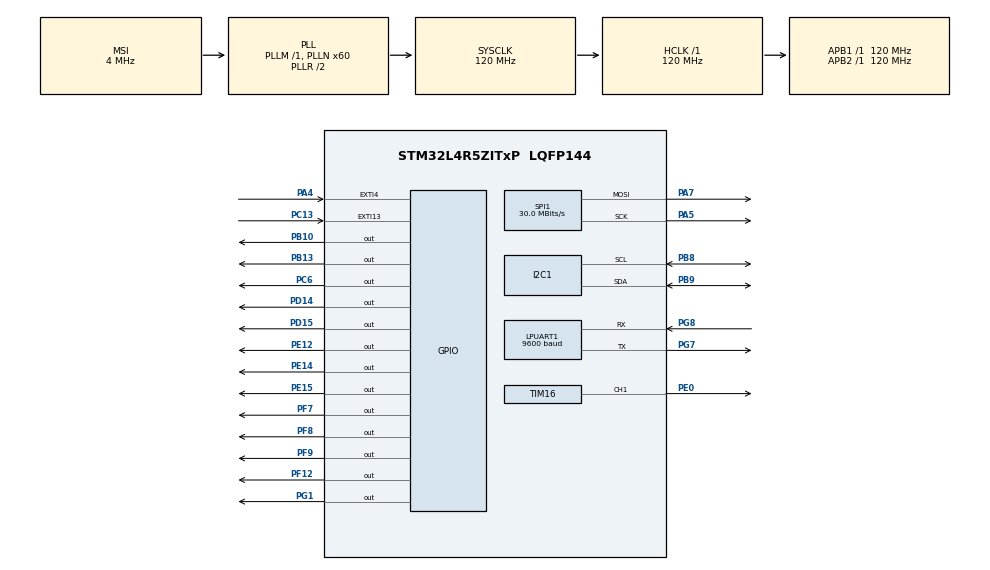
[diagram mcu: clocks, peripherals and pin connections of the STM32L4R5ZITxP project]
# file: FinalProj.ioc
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I2C1.Timing=0x307075B1
LPUART1.BaudRate=9600
LPUART1.WordLength=UART_WORDLENGTH_8B
Mcu.Family=STM32L4
Mcu.Name=STM32L4R5ZITxP
Mcu.Package=LQFP144
NVIC.EXTI15_10_IRQn=true\:0\:0\:false\:false\:true\:true\:true\:true
NVIC.EXTI4_IRQn=true\:0\:0\:false\:false\:true\:true\:true\:true
NVIC.PriorityGroup=NVIC_PRIORITYGROUP_4
PA10.Signal=USB_OTG_FS_ID
PA13\ (JTMS/SWDIO).Signal=SYS_JTMS-SWDIO
PA14\ (JTCK/SWCLK).Signal=SYS_JTCK-SWCLK
PA4.GPIO_ModeDefaultEXTI=GPIO_MODE_IT_FALLING
PA4.Signal=GPXTI4
PA5.Mode=TX_Only_Simplex_Unidirect_Master
PA5.Signal=SPI1_SCK
PA6.Signal=SPI1_MISO
PA7.Mode=TX_Only_Simplex_Unidirect_Master
PA7.Signal=SPI1_MOSI
PA8.Signal=USB_OTG_FS_SOF
PA9.Signal=USB_OTG_FS_VBUS
PB10.Signal=GPIO_Output
PB12.Signal=SAI2_FS_A
PB13.Signal=GPIO_Output
PB4\ (NJTRST).Signal=SPI3_MISO
PB5.Signal=SPI3_MOSI
PB6.Signal=COMP2_INP
PB8.Mode=I2C
PB8.Signal=I2C1_SCL
PB9.Mode=I2C
PB9.Signal=I2C1_SDA
PC0.Signal=ADCx_IN1
PC1.Signal=ADCx_IN2
PC10.Signal=SDMMC1_D2
PC11.Signal=SDMMC1_D3
PC12.Signal=SDMMC1_CK
PC13.Signal=GPXTI13
PC14-OSC32_IN\ (PC14).Signal=RCC_OSC32_IN
PC15-OSC32_OUT\ (PC15).Signal=RCC_OSC32_OUT
PC2.Signal=ADCx_IN3
PC3.Signal=ADCx_IN4
PC4.Signal=ADCx_IN13
PC5.Signal=ADCx_IN14
PC6.GPIO_ModeDefaultOutputPP=GPIO_MODE_OUTPUT_OD
PC6.GPIO_PuPd=GPIO_PULLUP
PC6.GPIO_Speed=GPIO_SPEED_FREQ_MEDIUM
PC6.Signal=GPIO_Output
PC8.Signal=SDMMC1_D0
PC9.Signal=SDMMC1_D1
PD0.Signal=CAN1_RX
PD14.Signal=GPIO_Output
PD15.Signal=GPIO_Output
PD2.Signal=SDMMC1_CMD
PD3.Signal=USART2_CTS
PD4.Signal=USART2_RTS
PD5.Signal=USART2_TX
PD6.Signal=USART2_RX
PD8.Signal=USART3_TX
PD9.Signal=USART3_RX
PE0.Signal=S_TIM16_CH1
PE10.Signal=TIM1_CH2N
PE12.Signal=GPIO_Output
PE13.Signal=S_TIM1_CH3
PE14.Signal=GPIO_Output
PE15.Signal=GPIO_Output
PE2.Signal=SAI1_MCLK_A
PE3.Signal=SAI1_SD_B
PE7.Signal=S_TIM1_ETR
PE8.Signal=TIM1_CH1N
PE9.Signal=S_TIM1_CH1
PF0.Signal=I2C2_SDA
PF1.Signal=I2C2_SCL
PF12.Signal=GPIO_Output
PF2.Signal=I2C2_SMBA
PF7.Signal=GPIO_Output
PF8.Signal=GPIO_Output
PF9.Signal=GPIO_Output
PG1.Signal=GPIO_Output
PG7.Mode=Asynchronous
PG7.Signal=LPUART1_TX
PG8.Mode=Asynchronous
PG8.Signal=LPUART1_RX
PH0-OSC_IN\ (PH0).Signal=RCC_OSC_IN
PH1-OSC_OUT\ (PH1).Signal=RCC_OSC_OUT
ProjectManager.HeapSize=0x200
ProjectManager.StackSize=0x400
ProjectManager.TargetToolchain=STM32CubeIDE
RCC.AHBFreq_Value=120000000
RCC.APB1Freq_Value=120000000
RCC.APB1TimFreq_Value=120000000
RCC.APB2Freq_Value=120000000
RCC.APB2TimFreq_Value=120000000
RCC.CortexFreq_Value=120000000
RCC.HCLKFreq_Value=120000000
RCC.HSE_VALUE=8000000
RCC.HSI48_VALUE=48000000
RCC.HSI_VALUE=16000000
RCC.LPUART1CLockSelection=RCC_LPUART1CLKSOURCE_HSI
RCC.LSE_VALUE=32768
RCC.MSI_VALUE=4000000
RCC.PLLN=60
RCC.SYSCLKFreq_VALUE=120000000
RCC.SYSCLKSource=RCC_SYSCLKSOURCE_PLLCLK
RCC.VCOOutputFreq_Value=240000000
SH.ADCx_IN1.0=ADC1_IN1
SH.ADCx_IN13.0=ADC1_IN13
SH.ADCx_IN14.0=ADC1_IN14
SH.ADCx_IN2.0=ADC1_IN2
SH.ADCx_IN3.0=ADC1_IN3
SH.ADCx_IN4.0=ADC1_IN4
SH.S_TIM16_CH1.0=TIM16_CH1,PWM Generation1 CH1
SH.S_TIM1_CH1.0=TIM1_CH1
SH.S_TIM1_CH3.0=TIM1_CH3
SH.S_TIM1_ETR.0=TIM1_ETR
SPI1.BaudRatePrescaler=SPI_BAUDRATEPRESCALER_4
SPI1.CalculateBaudRate=30.0 MBits/s
SPI1.DataSize=SPI_DATASIZE_8BIT
SPI1.Direction=SPI_DIRECTION_2LINES
SPI1.Mode=SPI_MODE_MASTER
SPI1.VirtualType=VM_MASTER
TIM16.AutoReloadPreload=TIM_AUTORELOAD_PRELOAD_ENABLE
TIM16.Channel=TIM_CHANNEL_1
TIM16.Period=1999
TIM16.Prescaler=1199
TIM2.ClockDivision=TIM_CLOCKDIVISION_DIV2
TIM2.Period=0xffff-1
TIM2.Prescaler=59999
TIM4.Period=0xffff-1
TIM4.Prescaler=11
TIM5.Prescaler=119
VP_TIM16_VS_ClockSourceINT.Mode=Enable_Timer
VP_TIM2_VS_ClockSourceINT.Mode=Internal
VP_TIM4_VS_ClockSourceINT.Mode=Internal
VP_TIM5_VS_ClockSourceINT.Mode=Internal
board=NUCLEO-L4R5ZI-P

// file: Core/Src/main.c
/* USER CODE BEGIN Header */
/**
  ******************************************************************************
  * @file           : main.c
  * @brief          : Main program body
  ******************************************************************************
  * @attention
  *
  * Copyright (c) 2022 STMicroelectronics.
  * All rights reserved.
  *
  * This software is licensed under terms that can be found in the LICENSE file
  * in the root directory of this software component.
  * If no LICENSE file comes with this software, it is provided AS-IS.
  *
  ******************************************************************************
  */
/* USER CODE END Header */
#include "main.h"

/* USER CODE BEGIN Includes */
#include "hx8357d.h"
#include "n64.h"
#include "plotter.h"
#include "stdio.h"
#include "PixyI2C.h"
/* USER CODE END Includes */

 I2C_HandleTypeDef hi2c1;

UART_HandleTypeDef hlpuart1;

SPI_HandleTypeDef hspi1;

TIM_HandleTypeDef htim2;
TIM_HandleTypeDef htim4;
TIM_HandleTypeDef htim5;
TIM_HandleTypeDef htim16;

/* USER CODE BEGIN PV */
//---------------------------Driver----------------------------------
enum InputMode {IR, N64};
enum InputMode mode = N64; // TODO: write N64 Button Interrupt to swap modes
uint16_t drawColor;
//---------------------------Screen----------------------------------
//Chip Select pin
GPIO_TypeDef  *tftCS_GPIO = GPIOD;
uint16_t tftCS_PIN = GPIO_PIN_14;
//Data Command pin
GPIO_TypeDef  *tftDC_GPIO = GPIOD;
uint16_t tftDC_PIN = GPIO_PIN_15;
//Reset pin
GPIO_TypeDef  *tftRESET_GPIO = GPIOF;
uint16_t tftRESET_PIN = GPIO_PIN_12;
static int displayXStep = HX8357_TFTWIDTH/2; // 0,0 is starting corner
static int displayYStep = HX8357_TFTHEIGHT/2;
static int displayXGoalStep = 100;
static int displayYGoalStep = 100;

//----------------------------N64-------------------------------------
GPIO_TypeDef  *n64_GPIO = GPIOC;
uint16_t n64_PIN = GPIO_PIN_6;
//Debug pin
GPIO_TypeDef  *n64_DEBUG_GPIO = GPIOB;
uint16_t n64_DEBUG_PIN = GPIO_PIN_13;
//Interrupt pin (connected to data)
GPIO_TypeDef  *n64_INT_GPIO = GPIOB;
uint16_t n64_INT_PIN = GPIO_PIN_15;

//--------------------------XY Plotter--------------------------------
// Pin definitions
static GPIO_TypeDef *A0_GPIO = GPIOB;
static uint16_t A0_PIN = GPIO_PIN_10;
static GPIO_TypeDef *A1_GPIO = GPIOE;
static uint16_t A1_PIN = GPIO_PIN_15;
static GPIO_TypeDef *A2_GPIO = GPIOE;
static uint16_t A2_PIN = GPIO_PIN_14;
static GPIO_TypeDef *A3_GPIO = GPIOE;
static uint16_t A3_PIN = GPIO_PIN_12;

static GPIO_TypeDef *B0_GPIO = GPIOG;
static uint16_t B0_PIN = GPIO_PIN_1;
static GPIO_TypeDef *B1_GPIO = GPIOF;
static uint16_t B1_PIN = GPIO_PIN_9;
static GPIO_TypeDef *B2_GPIO = GPIOF;
static uint16_t B2_PIN = GPIO_PIN_7;
static GPIO_TypeDef *B3_GPIO = GPIOF;
static uint16_t B3_PIN = GPIO_PIN_8;

static int plotXStep = 0; // 0,0 is starting corner
static int plotYStep = 0;

static int plotXGoalStep = 0;
static int plotYGoalStep = 0;

static const uint8_t STEP_PER_CM = 50;
static const uint8_t TRAVEL_X_CM = 40;
static const uint8_t TRAVEL_Y_CM = 40;

//---------------------------Servo---------------------------------
#define TIM16_ADDR 0x40014400 //timer 4 base register
#define TIM_CCR1_OFFSET 0x34 //capture/compare register 2
#define SERVO_DOWN 150
#define SERVO_UP 125
static char servoState = 0;
static char ZPrevState = 0; //button push state for N64 Z
static uint32_t * tim16_ccr1 = (uint32_t *)(TIM16_ADDR + TIM_CCR1_OFFSET);

/* USER CODE END PV */

void SystemClock_Config(void);
static void MX_GPIO_Init(void);
static void MX_SPI1_Init(void);
static void MX_TIM4_Init(void);
static void MX_LPUART1_UART_Init(void);
static void MX_TIM2_Init(void);
static void MX_I2C1_Init(void);
static void MX_TIM5_Init(void);
static void MX_TIM16_Init(void);

/* USER CODE BEGIN 0 */
void movePlot(int dXStep, int dYStep){
	plotXStep += dXStep;
	plotYStep += dYStep;
	if(dXStep == 0){
		stepDiag(0, dYStep);
	}else if(dYStep == 0){
		stepDiag(dXStep, 0);
	}else{
		stepDiag(dXStep, dYStep);
	}
	//printf("movePlot: now at (%d, %d)\n\r", plotXStep, plotYStep);
}

void moveTo(int xPos, int yPos)
{
  int dXStep = xPos - plotXStep;
  int dYStep = yPos - plotYStep;
  movePlot(dXStep, dYStep);
}

//this goes from -128 to +127 on each axis (N64 input)
void scaleN64Plot(signed char xval, signed char yval, int threshold){
	// plotXGoalStep = (xval + 128) * (STEP_PER_CM * TRAVEL_X_CM) / 255;
	// plotYGoalStep = (yval + 128) * (STEP_PER_CM * TRAVEL_Y_CM) / 255;
	// //printf("N64Plot: going to (%d, %d)\n\r", plotXGoalStep, plotYGoalStep);
	int stepDistance = 50;
    plotXGoalStep = 0;
    plotYGoalStep = 0;
    if(xval > threshold && plotXStep < (STEP_PER_CM * TRAVEL_X_CM) - stepDistance)
      plotXGoalStep =  stepDistance;
    if(xval < -1 * threshold && plotXStep > stepDistance)
      plotXGoalStep =  -1 * stepDistance;
    if(yval > threshold && plotYStep < (STEP_PER_CM * TRAVEL_Y_CM) - stepDistance)
      plotYGoalStep =  stepDistance;
    if(yval < -1 * threshold && plotYStep > stepDistance)
      plotYGoalStep =  -1 * stepDistance;
    //printf("N64Plot: going to (%d, %d)\n\r", plotXStep+ plotXGoalStep, plotYStep + plotYGoalStep);
    movePlot(plotXGoalStep, plotYGoalStep);
}
void scaleN64Display(signed char xval, signed char yval, int threshold)
{
  // Which direction is the stick in?
    displayXGoalStep = displayXStep;
    displayYGoalStep = displayYStep;
    int stepDistance = 6;
//    if(xval > threshold && displayXStep > 20)
//      displayXGoalStep =  displayXStep - 4;
//    if(xval < -1 * threshold && displayXStep < HX8357_TFTWIDTH - 20)
//      displayXGoalStep =  displayXStep + 4;
//    if(yval > threshold && displayYStep < HX8357_TFTHEIGHT - 20)
//      displayYGoalStep =  displayYStep + 4;
//    if(yval < -1 * threshold && displayYStep > 20)
//      displayYGoalStep =  displayYStep - 4;

    // Up on stick -> right on display
    if(yval > threshold && displayXStep < HX8357_TFTWIDTH - 20)
    {
        displayXGoalStep =  displayXStep + stepDistance;
    }
       // Down on Stick -> Left on Display
    if(yval < -1 * threshold && displayXStep > 20)
        displayXGoalStep =  displayXStep - stepDistance;
    // Left on stick -> down on display
    if(xval < -1 * threshold && displayYStep > 20)
        displayYGoalStep =  displayYStep - stepDistance;
    // Right on stick -> up on display
    if(xval > threshold &&displayYStep < HX8357_TFTHEIGHT - 20)
        displayYGoalStep =  displayYStep + stepDistance;

//    uint16_t XCenter = displayXGoalStep;
//	  uint16_t YCenter = displayYGoalStep;
    uint16_t XCenter = (plotYStep + plotYGoalStep) * (HX8357_TFTWIDTH) / (STEP_PER_CM * TRAVEL_Y_CM);
	uint16_t YCenter = (plotXStep + plotXGoalStep) * (HX8357_TFTHEIGHT) / (STEP_PER_CM * TRAVEL_X_CM);
	  uint16_t rectRadius = 12;
	  if(XCenter + rectRadius >= HX8357_TFTWIDTH) XCenter -= rectRadius;
	  if(YCenter + rectRadius >= HX8357_TFTHEIGHT) YCenter -= rectRadius;
	  LCD_rect(XCenter, YCenter, XCenter + rectRadius, YCenter + rectRadius, drawColor);
    displayXStep = displayXGoalStep;
    displayYStep = displayYGoalStep;
}
void scaleIRPlot(int *data, int threshold)
{
	//Tracking style

//	int newX = (320 - data[0]) * (STEP_PER_CM * TRAVEL_X_CM) / 320;
//	int newY = (200 - data[1]) * (STEP_PER_CM * TRAVEL_Y_CM) / 200;
//	int newXDiff = newX - plotXStep;
//	int newYDiff = newY - plotYStep;
//	int total = newXDiff + newYDiff;
//	int stepDistance = 100;
//	plotXGoalStep = newXDiff * stepDistance / total;
//	plotYGoalStep = newYDiff * stepDistance / total;
	//printf("IRPlot: going to (%d, %d)\n\r", plotXStep+ plotXGoalStep, plotYStep + plotYGoalStep);
	movePlot(plotXGoalStep, plotYGoalStep);

    // N64 Style
//
//	int xval = -1* (data[0] * 256 / 320) - 128;
//	int yval = -1* ((data[0] * 256 / 200) - 128);
//	scaleN64Plot(xval, yval, threshold);
}
void scaleIRDisplay(int *data, int threshold)
{
//  uint16_t XCenter = data[0] * HX8357_TFTWIDTH / 320;
//	uint16_t YCenter = data[1] * HX8357_TFTHEIGHT / 200;
//	uint16_t rectRadius = 8;
//	LCD_rect(XCenter - rectRadius, YCenter - rectRadius, XCenter + rectRadius, YCenter + rectRadius, drawColor);

	//Tracking style
	plotXGoalStep = 0;
	plotYGoalStep = 0;
	int newX = (320 - data[0]) * (STEP_PER_CM * TRAVEL_X_CM) / 320;
	if(newX < 0) newX = 0;
	int newY = (200 - data[1]) * (STEP_PER_CM * TRAVEL_Y_CM) / 200;
	if(newY < 0) newY = 0;
	int newXDiff = newX - plotXStep;
	int newYDiff = newY - plotYStep;

	// Whiteboard bounds
//	if(newY < 1050 || newY >  (STEP_PER_CM * TRAVEL_Y_CM) - 650) newYDiff = 0;
//	if(newX < 300 || newX >  (STEP_PER_CM * TRAVEL_X_CM) - 1350) newXDiff = 0;

	int total = abs(newXDiff) + abs(newYDiff);
	if(total > 400)
	{
		int stepDistance = 150;
		plotXGoalStep = newXDiff * stepDistance / total;
		plotYGoalStep = newYDiff * stepDistance / total;
	}

    uint16_t XCenter = (plotYStep + plotYGoalStep) * (HX8357_TFTWIDTH) / (STEP_PER_CM * TRAVEL_Y_CM);
	uint16_t YCenter = (plotXStep + plotXGoalStep) * (HX8357_TFTHEIGHT) / (STEP_PER_CM * TRAVEL_X_CM);
	  uint16_t rectRadius = 12;
	  if(XCenter + rectRadius >= HX8357_TFTWIDTH) XCenter -= rectRadius;
	  if(YCenter + rectRadius >= HX8357_TFTHEIGHT) YCenter -= rectRadius;
	  LCD_rect(XCenter, YCenter, XCenter + rectRadius, YCenter + rectRadius, drawColor);
    // N64 Style
//	int xval = -1* (data[0] * 256 / 320) - 128;
//	int yval = -1*((data[0] * 256 / 200) - 128);
//	scaleN64Display(xval, yval, threshold);
}

void drawPlotBounds(){
	//assumes we are at (0,0);
	movePlot((int)(STEP_PER_CM * TRAVEL_X_CM), 0);
	movePlot(0, (int)(STEP_PER_CM * TRAVEL_Y_CM));
	movePlot((int)(-STEP_PER_CM * TRAVEL_X_CM), 0);
	movePlot(0, (int)(-STEP_PER_CM * TRAVEL_Y_CM));
}

void reCalibrate(int vals)
{
	if((vals >> 28) & 0x1)
	{
		plotXStep = 0;
		plotYStep = 0;
	}
}

// Three button functions - Reset, Color Change, Input switch
void resetAll(){
	*tim16_ccr1 = SERVO_UP;
	servoState = 0;
	mode = N64;
	drawColor = 0x0000;
	LCD_fill(HX8357_WHITE);
	displayXStep = HX8357_TFTWIDTH/2;
	displayYStep = HX8357_TFTHEIGHT/2;
	moveTo(100, plotYStep);
	moveTo(100, 100);
}

void colorChange()
{
	switch(drawColor){
	case 0x0000:
		drawColor = 0x001F;
		break;
	case 0x001F:
		drawColor = 0xF800;
		break;
	case 0xF800:
		drawColor = 0x07E0;
		break;
	case 0x07E0:
		drawColor = 0x07FF;
		break;
	case 0x7FF:
		drawColor = 0xF81F;
		break;
	case 0xF81F:
		drawColor = 0xFFE0;
		break;
	case 0xFFE0:
		drawColor = 0x0000;
		break;
	}
//#define	HX8357_BLACK   0x0000 ///< BLACK color for drawing graphics
//#define	HX8357_BLUE    0x001F ///< BLUE color for drawing graphics
//#define	HX8357_RED     0xF800 ///< RED color for drawing graphics
//#define	HX8357_GREEN   0x07E0 ///< GREEN color for drawing graphics
//#define HX8357_CYAN    0x07FF ///< CYAN color for drawing graphics
//#define HX8357_MAGENTA 0xF81F ///< MAGENTA color for drawing graphics
//#define HX8357_YELLOW  0xFFE0 ///< YELLOW color for drawing graphics
//#define HX8357_WHITE   0xFFFF ///< WHITE color for drawing graphics
}
void modeSwap()
{
	mode = !mode;
	HAL_Delay(500);
}
void settingCheck(uint32_t vals)
{
    int aVal = vals >> 31;
    if(aVal) modeSwap();
//    int bVal = (vals >> 30) & 0x1;
//    if(bVal) resetAll();
    int lBumper = (vals >> 21) & 0x1;
    if(lBumper) colorChange();
}

//Servo
void toggleServo(){
	if(servoState){
		*tim16_ccr1 = SERVO_UP;
		servoState = 0;
	}else{
		*tim16_ccr1 = SERVO_DOWN;
		servoState = 1;
	}
}

void handleServo(char ZState){
	if(ZState && !ZPrevState){
		toggleServo();
	}
	ZPrevState = ZState;
}

/* USER CODE END 0 */

int main(void)
{

  /* MCU Configuration--------------------------------------------------------*/

  /* Reset of all peripherals, Initializes the Flash interface and the Systick. */
  HAL_Init();

  /* Configure the system clock */
  SystemClock_Config();

  /* Initialize all configured peripherals */
  MX_GPIO_Init();
  MX_SPI1_Init();
  MX_TIM4_Init();
  MX_LPUART1_UART_Init();
  MX_TIM2_Init();
  MX_I2C1_Init();
  MX_TIM5_Init();
  MX_TIM16_Init();
  /* USER CODE BEGIN 2 */

  ////printf("Initing...\n\r");

  //Servo
  HAL_TIM_PWM_Start(&htim16, TIM_CHANNEL_1);
  *tim16_ccr1 = SERVO_UP;

  //Stepper
  step_init(&htim2, 1, A0_GPIO, A0_PIN, A1_GPIO, A1_PIN, A2_GPIO, A2_PIN, A3_GPIO, A3_PIN, B0_GPIO, B0_PIN, B1_GPIO, B1_PIN, B2_GPIO, B2_PIN, B3_GPIO, B3_PIN);
  setSpeed(300); //yes 300, not above incl. 325

  //N64
  N64_init(&htim4, &htim5, n64_GPIO, n64_PIN, n64_DEBUG_GPIO, n64_DEBUG_PIN, n64_INT_GPIO, n64_INT_PIN);

  //LCD
  LCD_init(&hspi1, tftCS_GPIO, tftCS_PIN, tftDC_GPIO, tftDC_PIN, tftRESET_GPIO, tftRESET_PIN);
  HAL_Delay(200);
  LCD_fill(HX8357_WHITE);
  /* USER CODE END 2 */

  /* Infinite loop */
  /* USER CODE BEGIN WHILE */
  // start here

//  drawPlotBounds();
  movePlot((TRAVEL_X_CM * STEP_PER_CM / 2),(TRAVEL_Y_CM * STEP_PER_CM / 2));
  uint32_t vals = 0;
  //printf("Starting...\n\r");
  while (1)
  {
    if(mode == N64)
    {
      // N64 Read
      vals = intRead(); // intRead();
      //reCalibrate(vals);
      settingCheck(vals);
      signed char xval = (vals >> 8) & 0xff; //both were signed
      signed char yval = vals & 0xff;
      //printf("N64 read X: %d,Y: %d\n\r", xval, yval);
      // Input Tracking
      // To Display
      scaleN64Display(xval, yval, 45);
      // To Plotter Global
      scaleN64Plot(xval, yval, 45);
    }
    else if(mode == IR)
    {
    	// Check for mode switch
        vals = intRead(); // intRead();
        settingCheck(vals);
      // IR Read
      int ir_buf[2];
      getBlocks(&hi2c1, &ir_buf[0]);
      //printf("IR read X: %d,Y: %d\n\r", ir_buf[0], ir_buf[1]);
      // Input Tracking
      // To Display
      scaleIRDisplay(&ir_buf[0], 10);
      // To Plotter Globals
      scaleIRPlot(&ir_buf[0], 10);
    }
    // Plot

	  handleServo((vals >> 29) & 1);
    /* USER CODE END WHILE */

    /* USER CODE BEGIN 3 */
	  HAL_Delay(50);
  }
  /* USER CODE END 3 */
}

void SystemClock_Config(void)
{
  RCC_OscInitTypeDef RCC_OscInitStruct = {0};
  RCC_ClkInitTypeDef RCC_ClkInitStruct = {0};

  /** Configure the main internal regulator output voltage
  */
  if (HAL_PWREx_ControlVoltageScaling(PWR_REGULATOR_VOLTAGE_SCALE1_BOOST) != HAL_OK)
  {
    Error_Handler();
  }

  /** Initializes the RCC Oscillators according to the specified parameters
  * in the RCC_OscInitTypeDef structure.
  */
  RCC_OscInitStruct.OscillatorType = RCC_OSCILLATORTYPE_HSI|RCC_OSCILLATORTYPE_MSI;
  RCC_OscInitStruct.HSIState = RCC_HSI_ON;
  RCC_OscInitStruct.HSICalibrationValue = RCC_HSICALIBRATION_DEFAULT;
  RCC_OscInitStruct.MSIState = RCC_MSI_ON;
  RCC_OscInitStruct.MSICalibrationValue = 0;
  RCC_OscInitStruct.MSIClockRange = RCC_MSIRANGE_6;
  RCC_OscInitStruct.PLL.PLLState = RCC_PLL_ON;
  RCC_OscInitStruct.PLL.PLLSource = RCC_PLLSOURCE_MSI;
  RCC_OscInitStruct.PLL.PLLM = 1;
  RCC_OscInitStruct.PLL.PLLN = 60;
  RCC_OscInitStruct.PLL.PLLP = RCC_PLLP_DIV2;
  RCC_OscInitStruct.PLL.PLLQ = RCC_PLLQ_DIV2;
  RCC_OscInitStruct.PLL.PLLR = RCC_PLLR_DIV2;
  if (HAL_RCC_OscConfig(&RCC_OscInitStruct) != HAL_OK)
  {
    Error_Handler();
  }

  /** Initializes the CPU, AHB and APB buses clocks
  */
  RCC_ClkInitStruct.ClockType = RCC_CLOCKTYPE_HCLK|RCC_CLOCKTYPE_SYSCLK
                              |RCC_CLOCKTYPE_PCLK1|RCC_CLOCKTYPE_PCLK2;
  RCC_ClkInitStruct.SYSCLKSource = RCC_SYSCLKSOURCE_PLLCLK;
  RCC_ClkInitStruct.AHBCLKDivider = RCC_SYSCLK_DIV1;
  RCC_ClkInitStruct.APB1CLKDivider = RCC_HCLK_DIV1;
  RCC_ClkInitStruct.APB2CLKDivider = RCC_HCLK_DIV1;

  if (HAL_RCC_ClockConfig(&RCC_ClkInitStruct, FLASH_LATENCY_5) != HAL_OK)
  {
    Error_Handler();
  }
}

static void MX_I2C1_Init(void)
{

  hi2c1.Instance = I2C1;
  hi2c1.Init.Timing = 0x307075B1;
  hi2c1.Init.OwnAddress1 = 0;
  hi2c1.Init.AddressingMode = I2C_ADDRESSINGMODE_7BIT;
  hi2c1.Init.DualAddressMode = I2C_DUALADDRESS_DISABLE;
  hi2c1.Init.OwnAddress2 = 0;
  hi2c1.Init.OwnAddress2Masks = I2C_OA2_NOMASK;
  hi2c1.Init.GeneralCallMode = I2C_GENERALCALL_DISABLE;
  hi2c1.Init.NoStretchMode = I2C_NOSTRETCH_DISABLE;
  if (HAL_I2C_Init(&hi2c1) != HAL_OK)
  {
    Error_Handler();
  }

  /** Configure Analogue filter
  */
  if (HAL_I2CEx_ConfigAnalogFilter(&hi2c1, I2C_ANALOGFILTER_ENABLE) != HAL_OK)
  {
    Error_Handler();
  }

  /** Configure Digital filter
  */
  if (HAL_I2CEx_ConfigDigitalFilter(&hi2c1, 0) != HAL_OK)
  {
    Error_Handler();
  }

}

static void MX_LPUART1_UART_Init(void)
{

  hlpuart1.Instance = LPUART1;
  hlpuart1.Init.BaudRate = 9600;
  hlpuart1.Init.WordLength = UART_WORDLENGTH_8B;
  hlpuart1.Init.StopBits = UART_STOPBITS_1;
  hlpuart1.Init.Parity = UART_PARITY_NONE;
  hlpuart1.Init.Mode = UART_MODE_TX_RX;
  hlpuart1.Init.HwFlowCtl = UART_HWCONTROL_NONE;
  hlpuart1.Init.OneBitSampling = UART_ONE_BIT_SAMPLE_DISABLE;
  hlpuart1.Init.ClockPrescaler = UART_PRESCALER_DIV1;
  hlpuart1.AdvancedInit.AdvFeatureInit = UART_ADVFEATURE_NO_INIT;
  hlpuart1.FifoMode = UART_FIFOMODE_DISABLE;
  if (HAL_UART_Init(&hlpuart1) != HAL_OK)
  {
    Error_Handler();
  }
  if (HAL_UARTEx_SetTxFifoThreshold(&hlpuart1, UART_TXFIFO_THRESHOLD_1_8) != HAL_OK)
  {
    Error_Handler();
  }
  if (HAL_UARTEx_SetRxFifoThreshold(&hlpuart1, UART_RXFIFO_THRESHOLD_1_8) != HAL_OK)
  {
    Error_Handler();
  }
  if (HAL_UARTEx_DisableFifoMode(&hlpuart1) != HAL_OK)
  {
    Error_Handler();
  }

}

static void MX_SPI1_Init(void)
{

  /* SPI1 parameter configuration*/
  hspi1.Instance = SPI1;
  hspi1.Init.Mode = SPI_MODE_MASTER;
  hspi1.Init.Direction = SPI_DIRECTION_2LINES;
  hspi1.Init.DataSize = SPI_DATASIZE_8BIT;
  hspi1.Init.CLKPolarity = SPI_POLARITY_LOW;
  hspi1.Init.CLKPhase = SPI_PHASE_1EDGE;
  hspi1.Init.NSS = SPI_NSS_SOFT;
  hspi1.Init.BaudRatePrescaler = SPI_BAUDRATEPRESCALER_4;
  hspi1.Init.FirstBit = SPI_FIRSTBIT_MSB;
  hspi1.Init.TIMode = SPI_TIMODE_DISABLE;
  hspi1.Init.CRCCalculation = SPI_CRCCALCULATION_DISABLE;
  hspi1.Init.CRCPolynomial = 7;
  hspi1.Init.CRCLength = SPI_CRC_LENGTH_DATASIZE;
  hspi1.Init.NSSPMode = SPI_NSS_PULSE_ENABLE;
  if (HAL_SPI_Init(&hspi1) != HAL_OK)
  {
    Error_Handler();
  }

}

static void MX_TIM2_Init(void)
{

  TIM_ClockConfigTypeDef sClockSourceConfig = {0};
  TIM_MasterConfigTypeDef sMasterConfig = {0};

  htim2.Instance = TIM2;
  htim2.Init.Prescaler = 59999;
  htim2.Init.CounterMode = TIM_COUNTERMODE_UP;
  htim2.Init.Period = 0xffff-1;
  htim2.Init.ClockDivision = TIM_CLOCKDIVISION_DIV2;
  htim2.Init.AutoReloadPreload = TIM_AUTORELOAD_PRELOAD_DISABLE;
  if (HAL_TIM_Base_Init(&htim2) != HAL_OK)
  {
    Error_Handler();
  }
  sClockSourceConfig.ClockSource = TIM_CLOCKSOURCE_INTERNAL;
  if (HAL_TIM_ConfigClockSource(&htim2, &sClockSourceConfig) != HAL_OK)
  {
    Error_Handler();
  }
  sMasterConfig.MasterOutputTrigger = TIM_TRGO_RESET;
  sMasterConfig.MasterSlaveMode = TIM_MASTERSLAVEMODE_DISABLE;
  if (HAL_TIMEx_MasterConfigSynchronization(&htim2, &sMasterConfig) != HAL_OK)
  {
    Error_Handler();
  }

}

static void MX_TIM4_Init(void)
{

  TIM_ClockConfigTypeDef sClockSourceConfig = {0};
  TIM_MasterConfigTypeDef sMasterConfig = {0};

  htim4.Instance = TIM4;
  htim4.Init.Prescaler = 11;
  htim4.Init.CounterMode = TIM_COUNTERMODE_UP;
  htim4.Init.Period = 0xffff-1;
  htim4.Init.ClockDivision = TIM_CLOCKDIVISION_DIV1;
  htim4.Init.AutoReloadPreload = TIM_AUTORELOAD_PRELOAD_DISABLE;
  if (HAL_TIM_Base_Init(&htim4) != HAL_OK)
  {
    Error_Handler();
  }
  sClockSourceConfig.ClockSource = TIM_CLOCKSOURCE_INTERNAL;
  if (HAL_TIM_ConfigClockSource(&htim4, &sClockSourceConfig) != HAL_OK)
  {
    Error_Handler();
  }
  sMasterConfig.MasterOutputTrigger = TIM_TRGO_RESET;
  sMasterConfig.MasterSlaveMode = TIM_MASTERSLAVEMODE_DISABLE;
  if (HAL_TIMEx_MasterConfigSynchronization(&htim4, &sMasterConfig) != HAL_OK)
  {
    Error_Handler();
  }

}

static void MX_TIM5_Init(void)
{

  TIM_ClockConfigTypeDef sClockSourceConfig = {0};
  TIM_MasterConfigTypeDef sMasterConfig = {0};

  htim5.Instance = TIM5;
  htim5.Init.Prescaler = 119;
  htim5.Init.CounterMode = TIM_COUNTERMODE_UP;
  htim5.Init.Period = 4294967295;
  htim5.Init.ClockDivision = TIM_CLOCKDIVISION_DIV1;
  htim5.Init.AutoReloadPreload = TIM_AUTORELOAD_PRELOAD_DISABLE;
  if (HAL_TIM_Base_Init(&htim5) != HAL_OK)
  {
    Error_Handler();
  }
  sClockSourceConfig.ClockSource = TIM_CLOCKSOURCE_INTERNAL;
  if (HAL_TIM_ConfigClockSource(&htim5, &sClockSourceConfig) != HAL_OK)
  {
    Error_Handler();
  }
  sMasterConfig.MasterOutputTrigger = TIM_TRGO_RESET;
  sMasterConfig.MasterSlaveMode = TIM_MASTERSLAVEMODE_DISABLE;
  if (HAL_TIMEx_MasterConfigSynchronization(&htim5, &sMasterConfig) != HAL_OK)
  {
    Error_Handler();
  }

}

static void MX_TIM16_Init(void)
{

  TIM_OC_InitTypeDef sConfigOC = {0};
  TIM_BreakDeadTimeConfigTypeDef sBreakDeadTimeConfig = {0};

  htim16.Instance = TIM16;
  htim16.Init.Prescaler = 1199;
  htim16.Init.CounterMode = TIM_COUNTERMODE_UP;
  htim16.Init.Period = 1999;
  htim16.Init.ClockDivision = TIM_CLOCKDIVISION_DIV1;
  htim16.Init.RepetitionCounter = 0;
  htim16.Init.AutoReloadPreload = TIM_AUTORELOAD_PRELOAD_ENABLE;
  if (HAL_TIM_Base_Init(&htim16) != HAL_OK)
  {
    Error_Handler();
  }
  if (HAL_TIM_PWM_Init(&htim16) != HAL_OK)
  {
    Error_Handler();
  }
  sConfigOC.OCMode = TIM_OCMODE_PWM1;
  sConfigOC.Pulse = 0;
  sConfigOC.OCPolarity = TIM_OCPOLARITY_HIGH;
  sConfigOC.OCNPolarity = TIM_OCNPOLARITY_HIGH;
  sConfigOC.OCFastMode = TIM_OCFAST_DISABLE;
  sConfigOC.OCIdleState = TIM_OCIDLESTATE_RESET;
  sConfigOC.OCNIdleState = TIM_OCNIDLESTATE_RESET;
  if (HAL_TIM_PWM_ConfigChannel(&htim16, &sConfigOC, TIM_CHANNEL_1) != HAL_OK)
  {
    Error_Handler();
  }
  sBreakDeadTimeConfig.OffStateRunMode = TIM_OSSR_DISABLE;
  sBreakDeadTimeConfig.OffStateIDLEMode = TIM_OSSI_DISABLE;
  sBreakDeadTimeConfig.LockLevel = TIM_LOCKLEVEL_OFF;
  sBreakDeadTimeConfig.DeadTime = 0;
  sBreakDeadTimeConfig.BreakState = TIM_BREAK_DISABLE;
  sBreakDeadTimeConfig.BreakPolarity = TIM_BREAKPOLARITY_HIGH;
  sBreakDeadTimeConfig.AutomaticOutput = TIM_AUTOMATICOUTPUT_DISABLE;
  if (HAL_TIMEx_ConfigBreakDeadTime(&htim16, &sBreakDeadTimeConfig) != HAL_OK)
  {
    Error_Handler();
  }
  HAL_TIM_MspPostInit(&htim16);

}

static void MX_GPIO_Init(void)
{
  GPIO_InitTypeDef GPIO_InitStruct = {0};

  /* GPIO Ports Clock Enable */
  __HAL_RCC_GPIOE_CLK_ENABLE();
  __HAL_RCC_GPIOC_CLK_ENABLE();
  __HAL_RCC_GPIOF_CLK_ENABLE();
  __HAL_RCC_GPIOH_CLK_ENABLE();
  __HAL_RCC_GPIOA_CLK_ENABLE();
  __HAL_RCC_GPIOG_CLK_ENABLE();
  __HAL_RCC_GPIOB_CLK_ENABLE();
  __HAL_RCC_GPIOD_CLK_ENABLE();
  HAL_PWREx_EnableVddIO2();

  /*Configure GPIO pin Output Level */
  HAL_GPIO_WritePin(GPIOF, GPIO_PIN_7|GPIO_PIN_8|GPIO_PIN_9|GPIO_PIN_12, GPIO_PIN_RESET);

  /*Configure GPIO pin Output Level */
  HAL_GPIO_WritePin(GPIOG, GPIO_PIN_1, GPIO_PIN_RESET);

  /*Configure GPIO pin Output Level */
  HAL_GPIO_WritePin(GPIOE, GPIO_PIN_12|GPIO_PIN_14|GPIO_PIN_15, GPIO_PIN_RESET);

  /*Configure GPIO pin Output Level */
  HAL_GPIO_WritePin(GPIOB, GPIO_PIN_10|GPIO_PIN_13, GPIO_PIN_RESET);

  /*Configure GPIO pin Output Level */
  HAL_GPIO_WritePin(GPIOD, GPIO_PIN_14|GPIO_PIN_15, GPIO_PIN_RESET);

  /*Configure GPIO pin Output Level */
  HAL_GPIO_WritePin(GPIOC, GPIO_PIN_6, GPIO_PIN_RESET);

  /*Configure GPIO pins : PE2 PE3 */
  GPIO_InitStruct.Pin = GPIO_PIN_2|GPIO_PIN_3;
  GPIO_InitStruct.Mode = GPIO_MODE_AF_PP;
  GPIO_InitStruct.Pull = GPIO_NOPULL;
  GPIO_InitStruct.Speed = GPIO_SPEED_FREQ_LOW;
  GPIO_InitStruct.Alternate = GPIO_AF13_SAI1;
  HAL_GPIO_Init(GPIOE, &GPIO_InitStruct);

  /*Configure GPIO pin : PC13 */
  GPIO_InitStruct.Pin = GPIO_PIN_13;
  GPIO_InitStruct.Mode = GPIO_MODE_IT_RISING;
  GPIO_InitStruct.Pull = GPIO_NOPULL;
  HAL_GPIO_Init(GPIOC, &GPIO_InitStruct);

  /*Configure GPIO pins : PF0 PF1 PF2 */
  GPIO_InitStruct.Pin = GPIO_PIN_0|GPIO_PIN_1|GPIO_PIN_2;
  GPIO_InitStruct.Mode = GPIO_MODE_AF_OD;
  GPIO_InitStruct.Pull = GPIO_NOPULL;
  GPIO_InitStruct.Speed = GPIO_SPEED_FREQ_VERY_HIGH;
  GPIO_InitStruct.Alternate = GPIO_AF4_I2C2;
  HAL_GPIO_Init(GPIOF, &GPIO_InitStruct);

  /*Configure GPIO pins : PF7 PF8 PF9 PF12 */
  GPIO_InitStruct.Pin = GPIO_PIN_7|GPIO_PIN_8|GPIO_PIN_9|GPIO_PIN_12;
  GPIO_InitStruct.Mode = GPIO_MODE_OUTPUT_PP;
  GPIO_InitStruct.Pull = GPIO_NOPULL;
  GPIO_InitStruct.Speed = GPIO_SPEED_FREQ_LOW;
  HAL_GPIO_Init(GPIOF, &GPIO_InitStruct);

  /*Configure GPIO pins : PC0 PC1 PC2 PC3
                           PC4 PC5 */
  GPIO_InitStruct.Pin = GPIO_PIN_0|GPIO_PIN_1|GPIO_PIN_2|GPIO_PIN_3
                          |GPIO_PIN_4|GPIO_PIN_5;
  GPIO_InitStruct.Mode = GPIO_MODE_ANALOG_ADC_CONTROL;
  GPIO_InitStruct.Pull = GPIO_NOPULL;
  HAL_GPIO_Init(GPIOC, &GPIO_InitStruct);

  /*Configure GPIO pin : PA4 */
  GPIO_InitStruct.Pin = GPIO_PIN_4;
  GPIO_InitStruct.Mode = GPIO_MODE_IT_FALLING;
  GPIO_InitStruct.Pull = GPIO_NOPULL;
  HAL_GPIO_Init(GPIOA, &GPIO_InitStruct);

  /*Configure GPIO pin : PG1 */
  GPIO_InitStruct.Pin = GPIO_PIN_1;
  GPIO_InitStruct.Mode = GPIO_MODE_OUTPUT_PP;
  GPIO_InitStruct.Pull = GPIO_NOPULL;
  GPIO_InitStruct.Speed = GPIO_SPEED_FREQ_LOW;
  HAL_GPIO_Init(GPIOG, &GPIO_InitStruct);

  /*Configure GPIO pins : PE7 PE8 PE9 PE10
                           PE13 */
  GPIO_InitStruct.Pin = GPIO_PIN_7|GPIO_PIN_8|GPIO_PIN_9|GPIO_PIN_10
                          |GPIO_PIN_13;
  GPIO_InitStruct.Mode = GPIO_MODE_AF_PP;
  GPIO_InitStruct.Pull = GPIO_NOPULL;
  GPIO_InitStruct.Speed = GPIO_SPEED_FREQ_LOW;
  GPIO_InitStruct.Alternate = GPIO_AF1_TIM1;
  HAL_GPIO_Init(GPIOE, &GPIO_InitStruct);

  /*Configure GPIO pins : PE12 PE14 PE15 */
  GPIO_InitStruct.Pin = GPIO_PIN_12|GPIO_PIN_14|GPIO_PIN_15;
  GPIO_InitStruct.Mode = GPIO_MODE_OUTPUT_PP;
  GPIO_InitStruct.Pull = GPIO_NOPULL;
  GPIO_InitStruct.Speed = GPIO_SPEED_FREQ_LOW;
  HAL_GPIO_Init(GPIOE, &GPIO_InitStruct);

  /*Configure GPIO pins : PB10 PB13 */
  GPIO_InitStruct.Pin = GPIO_PIN_10|GPIO_PIN_13;
  GPIO_InitStruct.Mode = GPIO_MODE_OUTPUT_PP;
  GPIO_InitStruct.Pull = GPIO_NOPULL;
  GPIO_InitStruct.Speed = GPIO_SPEED_FREQ_LOW;
  HAL_GPIO_Init(GPIOB, &GPIO_InitStruct);

  /*Configure GPIO pin : PB12 */
  GPIO_InitStruct.Pin = GPIO_PIN_12;
  GPIO_InitStruct.Mode = GPIO_MODE_AF_PP;
  GPIO_InitStruct.Pull = GPIO_NOPULL;
  GPIO_InitStruct.Speed = GPIO_SPEED_FREQ_LOW;
  GPIO_InitStruct.Alternate = GPIO_AF13_SAI2;
  HAL_GPIO_Init(GPIOB, &GPIO_InitStruct);

  /*Configure GPIO pins : PD8 PD9 */
  GPIO_InitStruct.Pin = GPIO_PIN_8|GPIO_PIN_9;
  GPIO_InitStruct.Mode = GPIO_MODE_AF_PP;
  GPIO_InitStruct.Pull = GPIO_NOPULL;
  GPIO_InitStruct.Speed = GPIO_SPEED_FREQ_VERY_HIGH;
  GPIO_InitStruct.Alternate = GPIO_AF7_USART3;
  HAL_GPIO_Init(GPIOD, &GPIO_InitStruct);

  /*Configure GPIO pins : PD14 PD15 */
  GPIO_InitStruct.Pin = GPIO_PIN_14|GPIO_PIN_15;
  GPIO_InitStruct.Mode = GPIO_MODE_OUTPUT_PP;
  GPIO_InitStruct.Pull = GPIO_NOPULL;
  GPIO_InitStruct.Speed = GPIO_SPEED_FREQ_LOW;
  HAL_GPIO_Init(GPIOD, &GPIO_InitStruct);

  /*Configure GPIO pin : PC6 */
  GPIO_InitStruct.Pin = GPIO_PIN_6;
  GPIO_InitStruct.Mode = GPIO_MODE_OUTPUT_OD;
  GPIO_InitStruct.Pull = GPIO_PULLUP;
  GPIO_InitStruct.Speed = GPIO_SPEED_FREQ_MEDIUM;
  HAL_GPIO_Init(GPIOC, &GPIO_InitStruct);

  /*Configure GPIO pins : PC8 PC9 PC10 PC11
                           PC12 */
  GPIO_InitStruct.Pin = GPIO_PIN_8|GPIO_PIN_9|GPIO_PIN_10|GPIO_PIN_11
                          |GPIO_PIN_12;
  GPIO_InitStruct.Mode = GPIO_MODE_AF_PP;
  GPIO_InitStruct.Pull = GPIO_NOPULL;
  GPIO_InitStruct.Speed = GPIO_SPEED_FREQ_VERY_HIGH;
  GPIO_InitStruct.Alternate = GPIO_AF12_SDMMC1;
  HAL_GPIO_Init(GPIOC, &GPIO_InitStruct);

  /*Configure GPIO pins : PA8 PA10 */
  GPIO_InitStruct.Pin = GPIO_PIN_8|GPIO_PIN_10;
  GPIO_InitStruct.Mode = GPIO_MODE_AF_PP;
  GPIO_InitStruct.Pull = GPIO_NOPULL;
  GPIO_InitStruct.Speed = GPIO_SPEED_FREQ_VERY_HIGH;
  GPIO_InitStruct.Alternate = GPIO_AF10_OTG_FS;
  HAL_GPIO_Init(GPIOA, &GPIO_InitStruct);

  /*Configure GPIO pin : PA9 */
  GPIO_InitStruct.Pin = GPIO_PIN_9;
  GPIO_InitStruct.Mode = GPIO_MODE_INPUT;
  GPIO_InitStruct.Pull = GPIO_NOPULL;
  HAL_GPIO_Init(GPIOA, &GPIO_InitStruct);

  /*Configure GPIO pin : PD0 */
  GPIO_InitStruct.Pin = GPIO_PIN_0;
  GPIO_InitStruct.Mode = GPIO_MODE_AF_PP;
  GPIO_InitStruct.Pull = GPIO_NOPULL;
  GPIO_InitStruct.Speed = GPIO_SPEED_FREQ_VERY_HIGH;
  GPIO_InitStruct.Alternate = GPIO_AF9_CAN1;
  HAL_GPIO_Init(GPIOD, &GPIO_InitStruct);

  /*Configure GPIO pin : PD2 */
  GPIO_InitStruct.Pin = GPIO_PIN_2;
  GPIO_InitStruct.Mode = GPIO_MODE_AF_PP;
  GPIO_InitStruct.Pull = GPIO_NOPULL;
  GPIO_InitStruct.Speed = GPIO_SPEED_FREQ_VERY_HIGH;
  GPIO_InitStruct.Alternate = GPIO_AF12_SDMMC1;
  HAL_GPIO_Init(GPIOD, &GPIO_InitStruct);

  /*Configure GPIO pins : PD3 PD4 PD5 PD6 */
  GPIO_InitStruct.Pin = GPIO_PIN_3|GPIO_PIN_4|GPIO_PIN_5|GPIO_PIN_6;
  GPIO_InitStruct.Mode = GPIO_MODE_AF_PP;
  GPIO_InitStruct.Pull = GPIO_NOPULL;
  GPIO_InitStruct.Speed = GPIO_SPEED_FREQ_VERY_HIGH;
  GPIO_InitStruct.Alternate = GPIO_AF7_USART2;
  HAL_GPIO_Init(GPIOD, &GPIO_InitStruct);

  /*Configure GPIO pins : PB4 PB5 */
  GPIO_InitStruct.Pin = GPIO_PIN_4|GPIO_PIN_5;
  GPIO_InitStruct.Mode = GPIO_MODE_AF_PP;
  GPIO_InitStruct.Pull = GPIO_NOPULL;
  GPIO_InitStruct.Speed = GPIO_SPEED_FREQ_VERY_HIGH;
  GPIO_InitStruct.Alternate = GPIO_AF6_SPI3;
  HAL_GPIO_Init(GPIOB, &GPIO_InitStruct);

  /*Configure GPIO pin : PB6 */
  GPIO_InitStruct.Pin = GPIO_PIN_6;
  GPIO_InitStruct.Mode = GPIO_MODE_ANALOG;
  GPIO_InitStruct.Pull = GPIO_NOPULL;
  HAL_GPIO_Init(GPIOB, &GPIO_InitStruct);

  /* EXTI interrupt init*/
  HAL_NVIC_SetPriority(EXTI4_IRQn, 0, 0);
  HAL_NVIC_EnableIRQ(EXTI4_IRQn);

  HAL_NVIC_SetPriority(EXTI15_10_IRQn, 0, 0);
  HAL_NVIC_EnableIRQ(EXTI15_10_IRQn);

}

/* USER CODE BEGIN 4 */
#ifdef __GNUC__
#define PUTCHAR_PROTOTYPE int __io_putchar(int ch)
#else
  #define PUTCHAR_PROTOTYPE int fputc(int ch, FILE *f)
#endif /* __GNUC__ */
PUTCHAR_PROTOTYPE
{
  HAL_UART_Transmit(&hlpuart1, (uint8_t *)&ch, 1, 0xFFFF);
  return ch;
}

/* USER CODE END 4 */

void Error_Handler(void)
{
  __disable_irq();
  while (1)
  {
  }
}

#ifdef  USE_FULL_ASSERT
/**
  * @brief  Reports the name of the source file and the source line number
  *         where the assert_param error has occurred.
  * @param  file: pointer to the source file name
  * @param  line: assert_param error line source number
  * @retval None
  */
void assert_failed(uint8_t *file, uint32_t line)
{
  /* USER CODE BEGIN 6 */
  /* User can add his own implementation to report the file name and line number,
     ex: //printf("Wrong parameters value: file %s on line %d\r\n", file, line) */
  /* USER CODE END 6 */
}
#endif /* USE_FULL_ASSERT */
